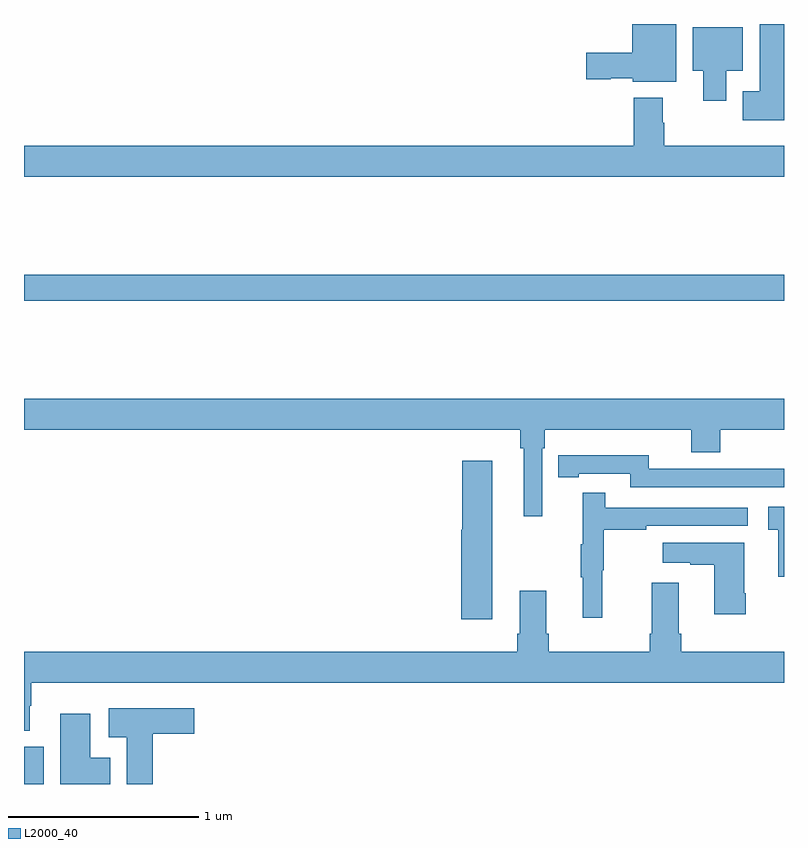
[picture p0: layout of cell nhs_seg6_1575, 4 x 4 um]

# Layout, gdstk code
import gdstk
lib = gdstk.Library(unit=1e-6, precision=1e-09)
def R(c, l, rs):  # rectangles x0, y0, x1, y1
    for r in rs: c.add(gdstk.rectangle(r[:2], r[2:], *l))
def P(c, l, *ps):  # polygons
    for p in ps: c.add(gdstk.Polygon(p, *l))
L2000_40 = (2000, 40)

nhs_seg6_1575 = lib.new_cell('nhs_seg6_1575')
R(nhs_seg6_1575, L2000_40, [(207,917.5,207.103,917.695), (207,920.044,211,920.18)])
P(nhs_seg6_1575, L2000_40, [(210.433,921.5),(210.2,921.5),(210.2,921.35),(209.958,921.35),(209.958,921.208),(210.087,921.208),(210.087,921.215),(210.204,921.215),(210.204,921.197),(210.433,921.197)],
  [(211,921.5),(210.872,921.5),(210.872,921.145),(210.782,921.145),(210.782,920.993),(211,920.993)],
  [(210.697,921.254),(210.784,921.254),(210.784,921.484),(210.521,921.484),(210.521,921.254),(210.575,921.254),(210.575,921.096),(210.697,921.096)],
  [(211,920.86),(210.369,920.86),(210.369,920.981),(210.361,920.981),(210.361,921.112),(210.209,921.112),(210.209,920.86),(207,920.86),(207,920.696),(211,920.696)],
  [(209.727,919.268),(209.741,919.268),(209.741,919.364),(210.512,919.364),(210.512,919.247),(210.665,919.247),(210.665,919.364),(211,919.364),(211,919.528),(207,919.528),(207,919.364),(209.611,919.364),(209.611,919.268),(209.63,919.268),(209.63,918.909),(209.727,918.909)],
  [(211,919.16),(210.748,919.16),(210.748,919.158),(210.288,919.158),(210.288,919.231),(209.92,919.231),(209.92,919.23),(209.812,919.23),(209.812,919.114),(209.92,919.114),(209.92,919.134),(210.192,919.134),(210.192,919.062),(211,919.062)],
  [(209.464,919.201),(209.306,919.201),(209.306,918.837),(209.3,918.837),(209.3,918.366),(209.464,918.366)],
  [(210.044,918.624),(210.052,918.624),(210.052,918.838),(210.275,918.838),(210.275,918.858),(210.808,918.858),(210.808,918.954),(210.059,918.954),(210.059,919.033),(209.942,919.033),(209.942,918.761),(209.931,918.761),(209.931,918.587),(209.942,918.587),(209.942,918.375),(210.044,918.375)],
  [(211,918.958),(210.918,918.958),(210.918,918.837),(210.971,918.837),(210.971,918.591),(211,918.591)],
  [(210.798,918.505),(210.79,918.505),(210.79,918.769),(210.363,918.769),(210.363,918.665),(210.506,918.665),(210.506,918.655),(210.632,918.655),(210.632,918.393),(210.798,918.393)],
  [(207.031,917.912),(207.039,917.912),(207.039,918.032),(211,918.032),(211,918.196),(210.458,918.196),(210.458,918.292),(210.445,918.292),(210.445,918.559),(210.305,918.559),(210.305,918.292),(210.293,918.292),(210.293,918.196),(209.762,918.196),(209.762,918.292),(209.749,918.292),(209.749,918.517),(209.609,918.517),(209.609,918.292),(209.597,918.292),(209.597,918.196),(207,918.196),(207,917.78),(207.031,917.78)],
  [(207.677,917.765),(207.895,917.765),(207.895,917.899),(207.447,917.899),(207.447,917.747),(207.542,917.747),(207.542,917.5),(207.677,917.5)],
  [(207.454,917.638),(207.349,917.638),(207.349,917.869),(207.191,917.869),(207.191,917.5),(207.454,917.5)])

lib.write_gds('nhs_seg6_1575.gds')
